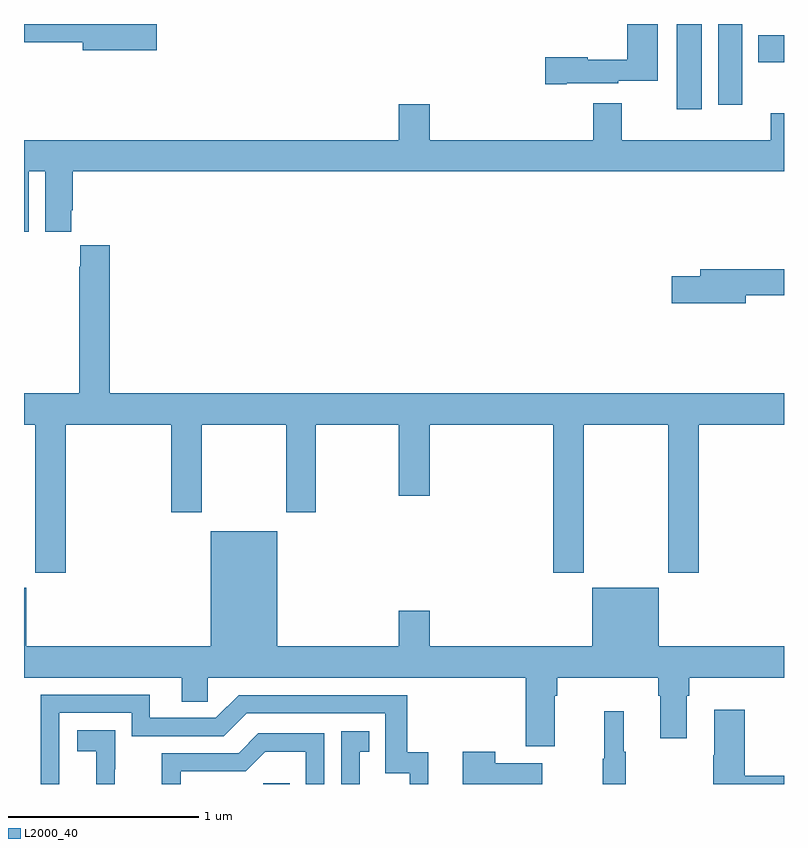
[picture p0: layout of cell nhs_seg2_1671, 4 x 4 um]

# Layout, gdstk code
import gdstk
lib = gdstk.Library(unit=1e-6, precision=1e-09)
def R(c, l, rs):  # rectangles x0, y0, x1, y1
    for r in rs: c.add(gdstk.rectangle(r[:2], r[2:], *l))
def P(c, l, *ps):  # polygons
    for p in ps: c.add(gdstk.Polygon(p, *l))
L2000_40 = (2000, 40)

nhs_seg2_1671 = lib.new_cell('nhs_seg2_1671')
R(nhs_seg2_1671, L2000_40, [(200.259,589.8,200.399,589.803), (202.436,593.352,202.567,593.8), (202.655,593.376,202.78,593.8), (202.865,593.6,203,593.74)])
P(nhs_seg2_1671, L2000_40, [(199.699,593.8),(199,593.8),(199,593.704),(199.31,593.704),(199.31,593.662),(199.699,593.662)],
  [(201.856,593.489),(202.128,593.489),(202.128,593.501),(202.336,593.501),(202.336,593.8),(202.174,593.8),(202.174,593.611),(201.966,593.611),(201.966,593.624),(201.744,593.624),(201.744,593.482),(201.856,593.482)],
  [(199.024,593.024),(199.112,593.024),(199.112,592.707),(199.249,592.707),(199.249,592.819),(199.256,592.819),(199.256,593.024),(203,593.024),(203,593.329),(202.931,593.329),(202.931,593.188),(202.147,593.188),(202.147,593.383),(201.995,593.383),(201.995,593.188),(201.136,593.188),(201.136,593.377),(200.972,593.377),(200.972,593.188),(199,593.188),(199,592.707),(199.024,592.707)],
  [(199,591.692),(199.06,591.692),(199.06,590.913),(199.22,590.913),(199.22,591.692),(199.775,591.692),(199.775,591.231),(199.935,591.231),(199.935,591.692),(200.38,591.692),(200.38,591.231),(200.535,591.231),(200.535,591.692),(200.972,591.692),(200.972,591.318),(201.136,591.318),(201.136,591.692),(201.785,591.692),(201.785,590.913),(201.945,590.913),(201.945,591.692),(202.39,591.692),(202.39,590.913),(202.55,590.913),(202.55,591.692),(203,591.692),(203,591.856),(199.451,591.856),(199.451,592.636),(199.295,592.636),(199.295,592.523),(199.291,592.523),(199.291,591.856),(199,591.856)],
  [(202.798,592.372),(203,592.372),(203,592.508),(202.559,592.508),(202.559,592.472),(202.41,592.472),(202.41,592.33),(202.798,592.33)],
  [(199.982,591.13),(199.982,590.524),(199.012,590.524),(199.012,590.833),(199,590.833),(199,590.36),(199.829,590.36),(199.829,590.233),(199.968,590.233),(199.968,590.36),(201.641,590.36),(201.641,589.998),(201.793,589.998),(201.793,590.264),(201.806,590.264),(201.806,590.36),(202.337,590.36),(202.337,590.264),(202.349,590.264),(202.349,590.04),(202.489,590.04),(202.489,590.264),(202.502,590.264),(202.502,590.36),(203,590.36),(203,590.524),(202.342,590.524),(202.342,590.833),(201.992,590.833),(201.992,590.524),(201.136,590.524),(201.136,590.713),(200.972,590.713),(200.972,590.524),(200.332,590.524),(200.332,591.13)],
  [(199.185,590.175),(199.566,590.175),(199.566,590.052),(200.052,590.052),(200.172,590.172),(200.901,590.172),(200.901,589.857),(201.03,589.857),(201.03,589.8),(201.128,589.8),(201.128,589.966),(201.017,589.966),(201.017,590.268),(200.13,590.268),(200.01,590.148),(199.663,590.148),(199.663,590.271),(199.089,590.271),(199.089,589.8),(199.185,589.8)],
  [(203,589.844),(202.793,589.844),(202.793,590.191),(202.634,590.191),(202.634,589.952),(202.627,589.952),(202.627,589.8),(203,589.8)],
  [(202.168,589.969),(202.157,589.969),(202.157,590.182),(202.054,590.182),(202.054,589.932),(202.047,589.932),(202.047,589.8),(202.168,589.8)],
  [(199.478,589.877),(199.479,589.877),(199.479,590.083),(199.281,590.083),(199.281,589.973),(199.379,589.973),(199.379,589.8),(199.478,589.8)],
  [(200.767,589.971),(200.816,589.971),(200.816,590.077),(200.67,590.077),(200.67,589.8),(200.767,589.8)],
  [(199.824,589.866),(200.166,589.866),(200.27,589.97),(200.484,589.97),(200.484,589.8),(200.58,589.8),(200.58,590.067),(200.234,590.067),(200.129,589.962),(199.726,589.962),(199.726,589.8),(199.824,589.8)],
  [(201.727,589.909),(201.479,589.909),(201.479,589.969),(201.308,589.969),(201.308,589.8),(201.727,589.8)])

lib.write_gds('nhs_seg2_1671.gds')
